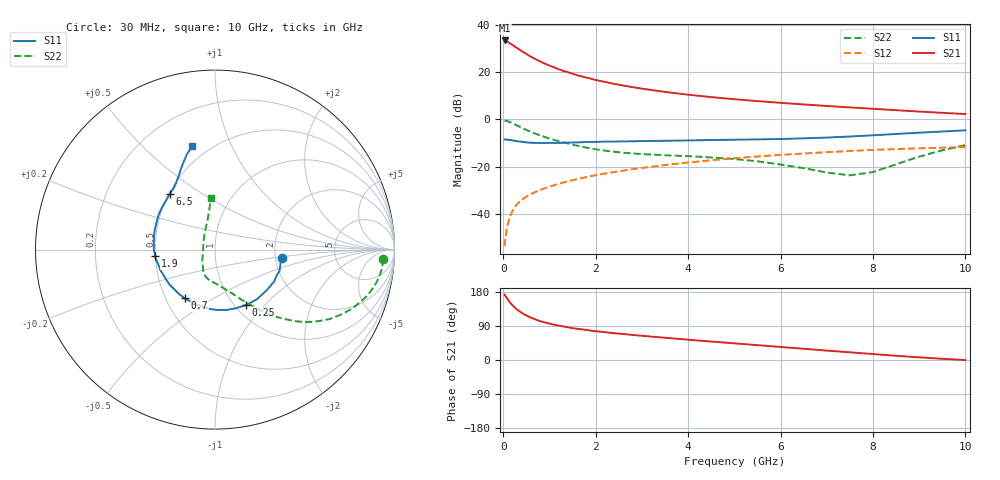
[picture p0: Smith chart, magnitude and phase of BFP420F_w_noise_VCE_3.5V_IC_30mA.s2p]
! Infineon Technologies  Discrete & RF Semiconductors
! BFP420F
! VCE =  3.5 V,  IC =  30 mA
! Common Emitter S-Parameters:  Sep 2011
# GHz  S  MA  R  50
!  f  S11  S21  S12  S22
! GHz  MAG  ANG  MAG  ANG  MAG  ANG  MAG  ANG
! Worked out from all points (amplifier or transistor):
!   54 points, 30 MHz to 10 GHz, reference 50 ohm
!   highest |S21| = 33.4 dB at 30 MHz (marker M1)
!   |S21| within 3 dB of that: start of sweep to 284 MHz
!   unconditionally stable (mu >= 1): 1.515 GHz to end of sweep
!   at 120 MHz: K = 0.36, MSG = 37.7 dB, |S12| = -42.9 dB
!   at 1.3 GHz: K = 0.95, MSG = 23.6 dB, |S12| = -26.7 dB
!   at 10 GHz: K = 1.22, MAG = 4.1 dB, |S12| = -11.7 dB
!   lowest NFmin = 1.81 dB at 450 MHz
!   S11 on the Smith chart (normalised r, x): 30 MHz: 2.18, -0.24; 250 MHz: 1.12, -0.79; 700 MHz: 0.63, -0.38; 1.9 GHz: 0.50, -0.04; 6.5 GHz: 0.51, +0.37; 10 GHz: 0.41, +0.72
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0.03  0.3781 -7.1  46.69 172.7  0.0021 77.7  0.9382 -3.2
0.05  0.3722 -11.1  45.64 168.4  0.0033 78.5  0.9367 -6.1
0.07  0.3785 -18.4  45.1 165.0  0.0045 79.6  0.9287 -8.9
0.12  0.3699 -31.3  42.35 155.9  0.0072 78.7  0.8974 -15.1
0.15  0.3666 -38.2  40.41 151.3  0.0089 76.5  0.8733 -18.4
0.2  0.3619 -50.1  37.52 144.7  0.0117 74.6  0.8312 -23.4
0.25  0.3541 -60.6  34.68 138.6  0.0138 72.7  0.7864 -27.6
0.35  0.3423 -79.3  29.93 128.7  0.0181 69.8  0.7045 -34.4
0.45  0.3326 -94.1  25.93 120.8  0.0217 67.9  0.6338 -39.5
0.6  0.3224 -112.2  21.15 111.7  0.0264 66.1  0.5443 -45.2
0.7  0.3191 -121.6  18.82 106.9  0.0295 65.7  0.4994 -48.2
0.9  0.3167 -136.3  15.1 99.2  0.0352 65.4  0.4252 -52.9
1.1  0.319 -147.3  12.59 93.2  0.0408 65.2  0.37 -57.0
1.7  0.3303 -168.7  8.114 80.9  0.0577 64.4  0.2656 -68.0
1.9  0.3352 -173.9  7.264 77.3  0.0635 64.0  0.2435 -71.7
2.6  0.3438 173.4  5.202 68.5  0.0831 61.6  0.198 -84.8
3.5  0.354 160.6  3.82 58.7  0.1088 57.4  0.1753 -98.2
5.5  0.379 140.3  2.441 39.2  0.1648 45.5  0.1305 -120.8
6.5  0.3989 129.3  2.076 29.7  0.1907 39.0  0.0936 -139.4
7  0.4137 123.5  1.927 24.8  0.2031 35.6  0.0755 -154.9
8.5  0.4937 112.3  1.569 11.1  0.2369 24.9  0.1125 120.4
10  0.5897 102.3  1.301 -0.2  0.2602 15.5  0.2872 94.8
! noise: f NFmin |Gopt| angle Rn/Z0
0.45  1.81  0.29  -175  0.14
0.9  1.82  0.3  -173  0.14
1.9  1.95  0.35  -164  0.14
2.4  2.01  0.35  -158  0.12
3.5  2.25  0.35  -146  0.18
